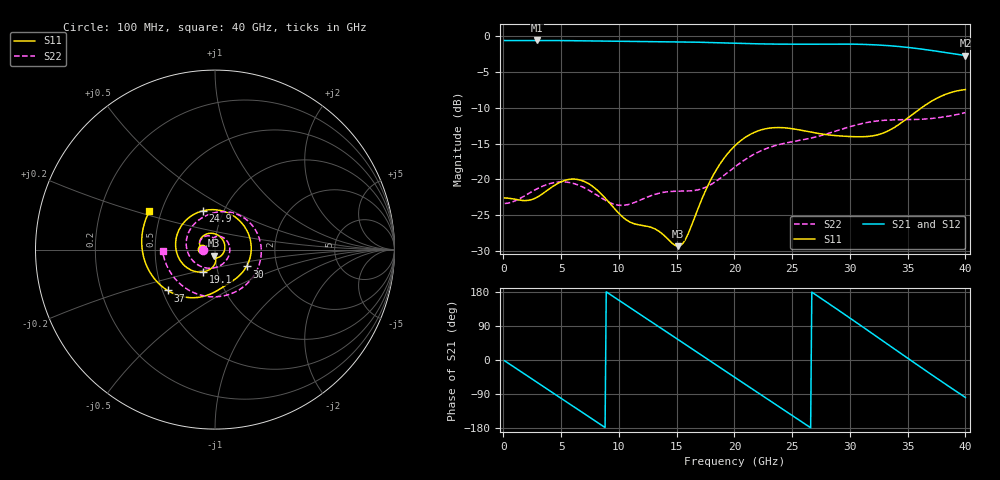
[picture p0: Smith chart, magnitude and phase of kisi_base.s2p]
! B_s8_L1L3_bd_d200: L1→L3, back-drilled to 0.2 mm below L3, drill Ø0.2
! stackup: 8-layer 1.6 mm FR-4 (generic)
! ports: 1, 2
! kisi-fdtd, conformal, dfine 0.035 mm, 595595 cells
# Hz S RI R 50
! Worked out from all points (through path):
!   400 points, 100 MHz to 40 GHz, reference 50 ohm
!   highest |S21| = -0.61 dB at 2.9 GHz (marker M1); lowest = -2.7 dB at 40 GHz (marker M2)
!   group delay of S21, straight-line fit = 56.8 ps
!   lowest |S11| = -29.3 dB at 15.1 GHz (marker M3), VSWR 1.07, Z = 49.1 - j3.28 ohm
!   |S11| at or under -10 dB: start of sweep to 36.2 GHz
!   |S22| runs from -23.6 to -10.7 dB; largest |S21 - S12| = 4.9e-06
!   S11 on the Smith chart (normalised r, x): 100 MHz: 0.86, +0.00; 19.1 GHz: 0.85, -0.22; 24.9 GHz: 0.80, +0.37; 30 GHz: 1.40, -0.27; 37 GHz: 0.53, -0.28; 40 GHz: 0.43, +0.22
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1e8  -0.0742 0.000742  0.9302 -0.0328  0.9302 -0.0328  -0.0679 -3.23e-06
2.9e9  -0.0743 0.0102  0.4846 -0.7959  0.4846 -0.7959  -0.0842 0.0172
4.8e9  -0.0862 0.039  -0.1171 -0.9229  -0.1171 -0.9229  -0.08 0.053
6.8e9  -0.0444 0.0875  -0.6855 -0.6225  -0.6855 -0.6225  -0.0458 0.0763
8.3e9  0.0176 0.0797  -0.9024 -0.1909  -0.9024 -0.1909  -0.0216 0.0726
9.8e9  0.0539 0.0268  -0.8729 0.289  -0.8729 0.289  -0.0111 0.0654
1.17e10  0.0311 -0.0369  -0.5035 0.7666  -0.5035 0.7666  0.00119 0.0709
1.34e10  -0.00624 -0.0434  0.0186 0.915  0.0186 0.915  0.0351 0.0717
1.51e10  -0.00764 -0.0333  0.5324 0.7402  0.5324 0.7402  0.0753 0.0342
1.71e10  0.00275 -0.0702  0.8797 0.2124  0.8797 0.2124  0.0677 -0.0525
1.91e10  -0.0659 -0.1241  0.7978 -0.4072  0.7978 -0.4072  -0.0245 -0.1038
2.01e10  -0.1291 -0.1159  0.6043 -0.6544  0.6043 -0.6544  -0.0819 -0.0921
2.25e10  -0.2187 0.0465  -0.0877 -0.8768  -0.0877 -0.8768  -0.1598 0.0193
2.49e10  -0.0667 0.2164  -0.7115 -0.5134  -0.7115 -0.5134  -0.1204 0.1371
2.67e10  0.1149 0.1795  -0.8781 0.013  -0.8781 0.013  -0.053 0.1875
2.83e10  0.1984 0.0467  -0.7309 0.4894  -0.7309 0.4894  0.0234 0.21
3e10  0.1757 -0.0936  -0.311 0.8218  -0.311 0.8218  0.1282 0.1948
3.16e10  0.1063 -0.1689  0.1965 0.8501  0.1965 0.8501  0.2247 0.1106
3.34e10  0.0305 -0.2177  0.6678 0.5364  0.6678 0.5364  0.2518 -0.0632
3.52e10  -0.0789 -0.2639  0.8301 0.00835  0.8301 0.00835  0.1319 -0.2256
3.7e10  -0.2638 -0.2278  0.6328 -0.4813  0.6328 -0.4813  -0.0796 -0.2536
4e10  -0.3657 0.2133  -0.1133 -0.7223  -0.1133 -0.7223  -0.2921 -0.00958
